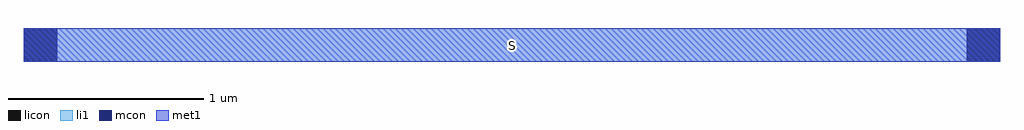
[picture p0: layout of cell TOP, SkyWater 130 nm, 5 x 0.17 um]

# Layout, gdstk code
import gdstk
lib = gdstk.Library(unit=1e-6, precision=1e-09)
def R(c, l, rs):  # rectangles x0, y0, x1, y1
    for r in rs: c.add(gdstk.rectangle(r[:2], r[2:], *l))
licon = (66, 44)
li1 = (67, 20)
mcon = (67, 44)
met1 = (68, 20)

top = lib.new_cell('TOP')
R(top, licon, [(0,0,0.17,0.17), (4.83,0,5,0.17)])
R(top, li1, [(0,0,5,0.17)])
R(top, mcon, [(0,0,0.17,0.17), (4.83,0,5,0.17)])
R(top, met1, [(0,0,5,0.17)])
top.add(gdstk.Label('S', (2.5,0.085), layer=67, texttype=5))

lib.write_gds('TOP.gds')
